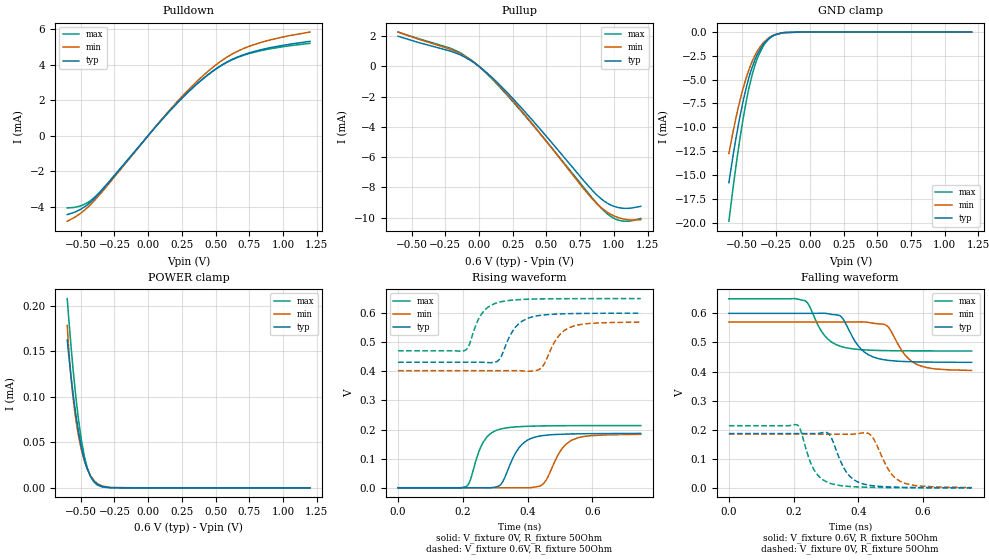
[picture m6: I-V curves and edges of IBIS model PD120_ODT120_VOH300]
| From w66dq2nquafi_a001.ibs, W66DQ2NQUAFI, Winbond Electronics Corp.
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[Model]   PD120_ODT120_VOH300
Model_type   I/O
Polarity   Non-Inverting
Enable   Active-Low
Vinl = 0.08
Vinh = 0.22
Vmeas = 0.15
Vref = 0
Cref = 0pF
Rref = 120
|   typ   min   max
C_comp   1.15pF   1.05pF   1.25pF
[Voltage Range]   0.6   0.57   0.65
[Temperature Range]   25   95   -40
[Pullup Reference]   0.6   0.57   0.65
[Pulldown Reference]   0   0   0
[Power Clamp Reference]   0.6   0.57   0.65
[GND Clamp Reference]   0   0   0
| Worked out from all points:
|   slope of the pulldown table from 0 to 0.09 V, typ, clamps not added: 112 ohm
|   slope of the pullup table from 0 to 0.09 V, typ, clamps not added: 132 ohm
|   GND clamp passes 1 mA (typ) near -0.33 V on its own axis
|   falling waveform, V_fixture 0.6V, R_fixture 50Ohm: 20-80 % time 60.4ps typ, 60.7ps min, 57.9ps max; typ from 0.6 V to 0.432 V
|   rising waveform, V_fixture 0V, R_fixture 50Ohm: 20-80 % time 52.8ps typ, 53.8ps min, 44.3ps max; typ from 0 V to 0.187 V
|   rising waveform, V_fixture 0.6V, R_fixture 50Ohm: 20-80 % time 51.6ps typ, 52.5ps min, 46.8ps max; typ from 0.431 V to 0.6 V
|   falling waveform, V_fixture 0V, R_fixture 50Ohm: 20-80 % time 50.8ps typ, 53.6ps min, 46.7ps max; typ from 0.187 V to 0 V
[Pulldown]
|   Voltage   I(typ)   I(min)   I(max)
-600mV    -4.454mA   -4.833mA   -4.083mA
-493.4mV  -4.126mA   -4.339mA   -3.946mA
-451.8mV  -3.909mA   -4.072mA   -3.793mA
-403.8mV  -3.584mA   -3.708mA   -3.52mA
-306.9mV  -2.775mA   -2.861mA   -2.747mA
168.9mV   1.471mA    1.525mA    1.468mA
360.6mV   2.917mA    3.057mA    2.907mA
514.1mV   3.834mA    4.064mA    3.818mA
624.4mV   4.312mA    4.613mA    4.291mA
759.8mV   4.697mA    5.075mA    4.659mA
929.4mV   5.004mA    5.451mA    4.936mA
1.2V      5.325mA    5.851mA    5.215mA
[GND Clamp]
|   Voltage   I(typ)   I(min)   I(max)
-600mV    -15.82mA   -12.76mA   -19.87mA
-569.5mV  -13.03mA   -10.5mA    -16.42mA
-519.4mV  -8.985mA   -7.275mA   -11.32mA
-492.8mV  -7.148mA   -5.829mA   -8.958mA
-452.4mV  -4.834mA   -3.99mA    -5.962mA
-427.3mV  -3.694mA   -3.077mA   -4.48mA
-404.3mV  -2.831mA   -2.392mA   -3.374mA
-382.2mV  -2.17mA    -1.845mA   -2.516mA
-336.7mV  -1.145mA   -1.002mA   -1.28mA
-280.2mV  -432.8uA   -402.8uA   -466.4uA
-184.7mV  -54.57uA   -63.46uA   -39.39uA
1.2V      0A         0A         0A
[Pullup]
|   Voltage   I(typ)   I(min)   I(max)
-600mV    1.99mA     2.267mA    2.262mA
-200.9mV  975.7uA    1.098mA    1.154mA
-127.5mV  712.8uA    786.7uA    835.1uA
-19.8mV   131.7uA    140.4uA    149.8uA
98.82mV   -754.5uA   -805.3uA   -850.3uA
228.1mV   -1.907mA   -2.035mA   -2.099mA
443.4mV   -4.042mA   -4.324mA   -4.349mA
773.1mV   -7.518mA   -8.058mA   -7.964mA
920.4mV   -8.857mA   -9.441mA   -9.496mA
996.6mV   -9.241mA   -9.867mA   -10.03mA
1.057V    -9.371mA   -10.06mA   -10.22mA
1.2V      -9.254mA   -10.14mA   -10.05mA
[POWER Clamp]
|   Voltage   I(typ)   I(min)   I(max)
-600mV    162.4uA    178.3uA    207.7uA
-581.2mV  135.3uA    137.4uA    172.3uA
-556.8mV  104uA      99.05uA    130.8uA
-529.3mV  74.07uA    68.39uA    91.5uA
-519.4mV  64.73uA    59.62uA    78.43uA
-493.4mV  43.91uA    40.99uA    50.99uA
-470.7mV  29.96uA    28.77uA    33.05uA
-451.8mV  21.06uA    20.75uA    22.19uA
-427.1mV  12.77uA    13.23uA    12.48uA
-382.2mV  4.659uA    5.52uA     3.72uA
-278.5mV  186.6nA    408.5nA    60.66nA
1.2V      0A         0A         0A
[Ramp]
R_load = 50
|   typ   min   max
dV/dt_r 1.1194E-01/5.2720E-11   1.1012E-01/5.3790E-11   1.2818E-01/4.4108E-11
dV/dt_f 1.0106E-01/6.0394E-11   9.9799E-02/6.0573E-11   1.0759E-01/5.7904E-11
[Falling Waveform]
V_fixture = 0.6V
V_fixture_min = 0.57V
V_fixture_max = 0.65V
R_fixture = 50Ohm
C_fixture = 0F
|   Time   V(typ)   V(min)   V(max)
0s        600mV      570mV      650mV
236ps     600mV      570mV      642.9mV
289ps     600.7mV    570mV      533.6mV
339ps     593.7mV    570mV      489.2mV
408ps     477.6mV    570.7mV    475mV
478ps     440.6mV    562.5mV    472mV
494ps     438.2mV    551.1mV    471.7mV
544ps     434.3mV    457.1mV    471.1mV
579ps     433.1mV    425.5mV    470.9mV
750ps     431.6mV    403.7mV    470.7mV
[Rising Waveform]
V_fixture = 0V
V_fixture_min = 0V
V_fixture_max = 0V
R_fixture = 50Ohm
C_fixture = 0F
|   Time   V(typ)   V(min)   V(max)
0s        7.087uV    23.45uV    1.39uV
211ps     7.178uV    23.46uV    4.294mV
262ps     -83.08uV   23.51uV    154.4mV
317ps     10.76mV    24.31uV    201.8mV
374ps     137.6mV    -63.03uV   209.8mV
418ps     172.3mV    1.645mV    211.8mV
450ps     179.6mV    14.87mV    212.5mV
500ps     183.7mV    123.4mV    213.1mV
535ps     184.8mV    162.5mV    213.4mV
750ps     186.6mV    183.6mV    213.6mV
[Rising Waveform]
V_fixture = 0.6V
V_fixture_min = 0.57V
V_fixture_max = 0.65V
R_fixture = 50Ohm
C_fixture = 0F
|   Time   V(typ)   V(min)   V(max)
0s        431.4mV    402.3mV    470.7mV
208ps     431.4mV    402.3mV    472.6mV
253ps     431.5mV    402.3mV    588.3mV
303ps     432.6mV    402.3mV    634.5mV
364ps     553.4mV    402.4mV    645.8mV
424ps     589.5mV    402.3mV    648.6mV
444ps     593mV      413.4mV    649mV
487ps     596.6mV    507.1mV    649.5mV
528ps     598.2mV    549.6mV    649.8mV
750ps     599.9mV    569.3mV    650mV
[Falling Waveform]
|Gnd
V_fixture = 0V
V_fixture_min = 0V
V_fixture_max = 0V
R_fixture = 50Ohm
C_fixture = 0F
|   Time   V(typ)   V(min)   V(max)
0s        186.7mV    184.4mV    213.7mV
211ps     186.7mV    184.4mV    216.5mV
262ps     186.5mV    184.4mV    64.21mV
318ps     169mV      184.5mV    13.89mV
361ps     57.55mV    184.3mV    5.735mV
408ps     15.87mV    188.1mV    2.593mV
443ps     7.526mV    175.4mV    1.527mV
494ps     3.286mV    61.04mV    721.3uV
528ps     2.105mV    22.98mV    429.5uV
750ps     146.8uV    995.9uV    5.306uV
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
